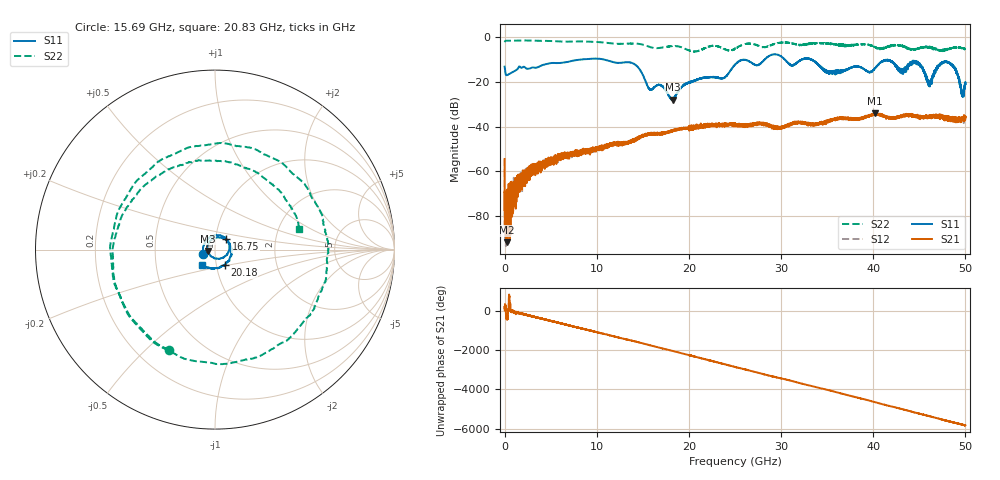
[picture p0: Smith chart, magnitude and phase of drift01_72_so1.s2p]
!Created with skrf (http://scikit-rf.org).
# Hz S RI R 50.0
!freq ReS11 ImS11 ReS21 ImS21 ReS12 ImS12 ReS22 ImS22
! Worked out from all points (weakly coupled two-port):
!   10001 points, 300 kHz to 50 GHz, reference 50 ohm
!   highest |S21| = -34.02 dB at 40.2 GHz (marker M1); lowest = -91.9 dB at 220.3 MHz (marker M2)
!   lowest |S11| = -27.9 dB at 18.27 GHz (marker M3), VSWR 1.08, Z = 46.2 - j0.647 ohm
!   |S11| at or under -10 dB: 10.9 GHz to 25.87 GHz (14.97 GHz wide, 81.4 % of centre); 33.32 GHz to 41.56 GHz (8.241 GHz wide, 22 % of centre); 41.57 GHz to end of sweep (the widest 3 of 17)
!   |S22| runs from -6.4 to -1.4 dB; largest |S21 - S12| = 0.0042
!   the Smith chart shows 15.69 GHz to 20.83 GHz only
!   S11 on the Smith chart (normalised r, x): 15.69 GHz: 0.88, -0.05; 16.75 GHz: 1.12, +0.14; 20.18 GHz: 1.09, -0.19; 20.83 GHz: 0.85, -0.14
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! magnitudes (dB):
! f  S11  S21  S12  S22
! 300 kHz  -13.1  -54.5  -54.5  -2.1
! 220.3 MHz  -16.9  -91.9  -71.7  -1.4
! 3.015 GHz  -13.5  -58.7  -58.9  -1.4
! 8.335 GHz  -9.9  -50.3  -51.9  -1.8
! 13.9 GHz  -11.5  -45.9  -46.4  -2.7
! 15.69 GHz  -23.0  -43.3  -43.6  -4.2
! 16.67 GHz  -21.2  -43.2  -42.8  -4.8
! 16.75 GHz  -21.3  -43.2  -43.1  -4.7
! 18.27 GHz  -27.9  -42.1  -41.4  -3.9
! 20.18 GHz  -19.9  -39.5  -40.4  -6.1
! 20.83 GHz  -19.0  -40.0  -40.2  -6.3
! 25 GHz  -12.2  -39.0  -39.5  -5.0
! 33.34 GHz  -10.0  -38.9  -39.1  -2.7
! 35.33 GHz  -15.9  -37.1  -37.1  -2.8
! 40.2 GHz  -13.7  -34.0  -34.8  -4.4
! 41.67 GHz  -10.1  -35.7  -36.0  -4.0
! 43.03 GHz  -15.6  -35.3  -35.2  -3.6
! 44.81 GHz  -11.3  -35.2  -35.7  -5.0
! 46.1 GHz  -21.4  -35.4  -35.6  -4.4
! 48.04 GHz  -11.1  -36.2  -36.4  -5.4
! 49.63 GHz  -25.8  -36.3  -36.5  -4.7
! 50 GHz  -20.9  -35.8  -36.0  -5.2
